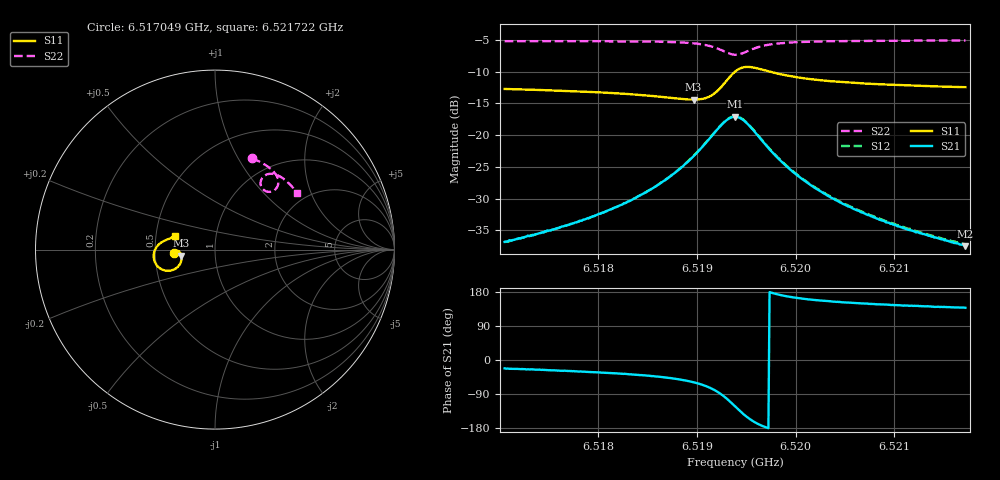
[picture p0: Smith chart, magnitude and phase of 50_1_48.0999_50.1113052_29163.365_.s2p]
#  HZ  S  RI  R  50.00
! Rohde & Schwarz Vector Network Analyzer
! Rohde-Schwarz,ZNB20-2Port,1311601062101988,3.16
! Created: UTC 12/23/2023, 3:39:39 AM
! freq[Hz]  re:S11  im:S11  re:S21  im:S21  re:S12  im:S12  re:S22  im:S22
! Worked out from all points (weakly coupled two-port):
!   401 points, 6.517049 GHz to 6.521722 GHz, reference 50 ohm
!   highest |S21| = -17.12 dB at 6.519385 GHz (marker M1); lowest = -37.5 dB at 6.521722 GHz (marker M2)
!   lowest |S11| = -14.4 dB at 6.518965 GHz (marker M3), VSWR 1.47, Z = 34.2 - j2.46 ohm
!   |S11| at or under -10 dB: start of sweep to 6.519387 GHz; 6.519736 GHz to end of sweep
!   |S22| runs from -7.3 to -5.1 dB; largest |S21 - S12| = 0.0042
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6.5170485e9  -0.2303 -0.0163  0.0134 -0.0054  0.0134 -0.00502  0.2073 0.5078
6.5175392e9  -0.2245 -0.00927  0.016 -0.0083  0.0163 -0.0078  0.2435 0.4919
6.5178313e9  -0.2202 -0.00624  0.0182 -0.0108  0.0186 -0.0102  0.2651 0.4806
6.5182636e9  -0.2115 -0.00442  0.0234 -0.0172  0.0238 -0.0166  0.2977 0.4599
6.5186141e9  -0.2006 -0.00935  0.0294 -0.0285  0.0304 -0.0278  0.3248 0.4364
6.518801e9  -0.1932 -0.0182  0.0333 -0.0402  0.0348 -0.0394  0.3394 0.4182
6.5189646e9  -0.187 -0.0347  0.0354 -0.0582  0.0374 -0.0576  0.3502 0.3955
6.5190814e9  -0.1866 -0.0562  0.0319 -0.0791  0.0346 -0.0787  0.3528 0.372
6.5191632e9  -0.1939 -0.0781  0.022 -0.0988  0.0252 -0.0988  0.3476 0.3516
6.5192917e9  -0.2373 -0.1145  -0.0221 -0.1275  -0.0187 -0.1291  0.3139 0.3231
6.5193385e9  -0.2655 -0.118  -0.0481 -0.1279  -0.0448 -0.1303  0.2934 0.3225
6.5193852e9  -0.2956 -0.1104  -0.0742 -0.118  -0.0714 -0.121  0.2735 0.3309
6.5194319e9  -0.3207 -0.0916  -0.0946 -0.0987  -0.0925 -0.1022  0.2593 0.3474
6.5194903e9  -0.3384 -0.0598  -0.1068 -0.0691  -0.1057 -0.0727  0.2538 0.3719
6.5195838e9  -0.3389 -0.0137  -0.1023 -0.0296  -0.1021 -0.0327  0.2659 0.4026
6.519689e9  -0.323 0.018  -0.0849 -0.00498  -0.0856 -0.00727  0.2888 0.4187
6.5199109e9  -0.2911 0.0448  -0.0552 0.0117  -0.0562 0.0102  0.3287 0.4208
6.520168e9  -0.2693 0.0548  -0.037 0.0141  -0.0378 0.0133  0.3593 0.4091
6.5205068e9  -0.2529 0.0613  -0.0247 0.0132  -0.0255 0.0127  0.3878 0.39
6.5209508e9  -0.2399 0.0679  -0.0168 0.0114  -0.0173 0.0112  0.417 0.3638
6.521348e9  -0.2315 0.0734  -0.0126 0.01  -0.0131 0.00985  0.439 0.3395
6.5217219e9  -0.2251 0.0785  -0.00987 0.00896  -0.0104 0.00902  0.4573 0.3165
